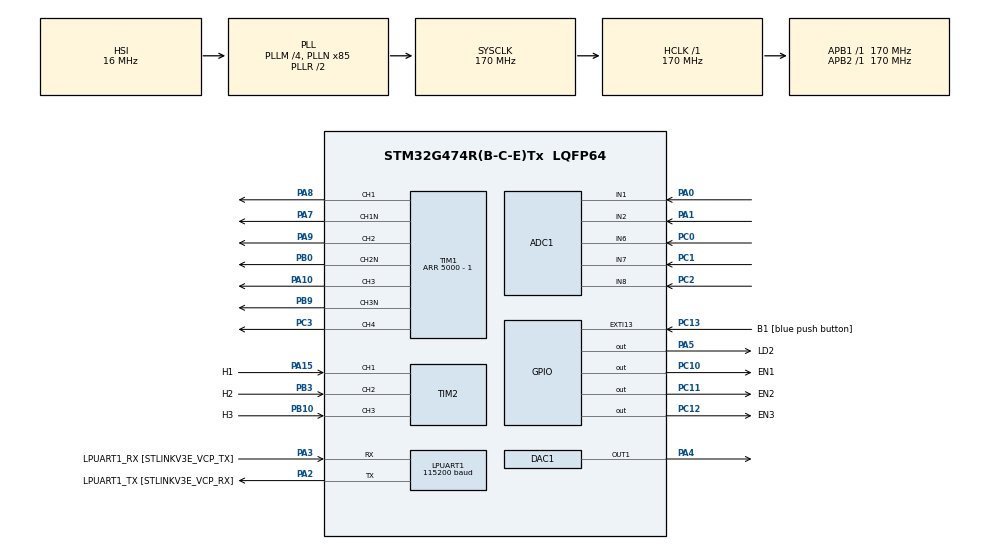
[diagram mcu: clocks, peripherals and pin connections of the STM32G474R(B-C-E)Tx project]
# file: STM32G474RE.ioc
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ADC1.Channel-0\#ChannelRegularConversion=ADC_CHANNEL_2
ADC1.Channel-4\#ChannelRegularConversion=ADC_CHANNEL_8
ADC1.ContinuousConvMode=ENABLE
ADC1.DMAContinuousRequests=ENABLE
ADC1.EnableInjectedConversion=ENABLE
ADC1.ExternalTrigInjecConv=ADC_EXTERNALTRIGINJEC_T1_TRGO
ADC1.InjNumberOfConversion=3
ADC1.InjectedChannel-1\#ChannelInjectedConversion=ADC_CHANNEL_1
ADC1.InjectedChannel-2\#ChannelInjectedConversion=ADC_CHANNEL_7
ADC1.InjectedChannel-3\#ChannelInjectedConversion=ADC_CHANNEL_6
ADC1.InjectedOffsetNumber-1\#ChannelInjectedConversion=ADC_OFFSET_NONE
ADC1.InjectedOffsetNumber-2\#ChannelInjectedConversion=ADC_OFFSET_NONE
ADC1.InjectedOffsetNumber-3\#ChannelInjectedConversion=ADC_OFFSET_NONE
ADC1.InjectedRank-1\#ChannelInjectedConversion=1
ADC1.InjectedRank-2\#ChannelInjectedConversion=2
ADC1.InjectedRank-3\#ChannelInjectedConversion=3
ADC1.InjectedSamplingTime-1\#ChannelInjectedConversion=ADC_SAMPLETIME_2CYCLES_5
ADC1.InjectedSamplingTime-2\#ChannelInjectedConversion=ADC_SAMPLETIME_2CYCLES_5
ADC1.InjectedSamplingTime-3\#ChannelInjectedConversion=ADC_SAMPLETIME_2CYCLES_5
ADC1.NbrOfConversion=2
ADC1.NbrOfConversionFlag=1
ADC1.OffsetNumber-0\#ChannelRegularConversion=ADC_OFFSET_NONE
ADC1.OffsetNumber-4\#ChannelRegularConversion=ADC_OFFSET_NONE
ADC1.Rank-0\#ChannelRegularConversion=1
ADC1.Rank-4\#ChannelRegularConversion=2
ADC1.SamplingTime-0\#ChannelRegularConversion=ADC_SAMPLETIME_2CYCLES_5
ADC1.SamplingTime-4\#ChannelRegularConversion=ADC_SAMPLETIME_2CYCLES_5
ADC1.master=1
DAC1.DAC_Trigger_OUT1-DAC_OUT1=DAC_TRIGGER_SOFTWARE
Dma.ADC1.0.Direction=DMA_PERIPH_TO_MEMORY
Dma.ADC1.0.EventEnable=DISABLE
Dma.ADC1.0.Instance=DMA1_Channel1
Dma.ADC1.0.MemDataAlignment=DMA_MDATAALIGN_HALFWORD
Dma.ADC1.0.MemInc=DMA_MINC_ENABLE
Dma.ADC1.0.Mode=DMA_CIRCULAR
Dma.ADC1.0.PeriphDataAlignment=DMA_PDATAALIGN_HALFWORD
Dma.ADC1.0.PeriphInc=DMA_PINC_DISABLE
Dma.ADC1.0.Polarity=HAL_DMAMUX_REQ_GEN_RISING
Dma.ADC1.0.Priority=DMA_PRIORITY_LOW
Dma.ADC1.0.RequestNumber=1
Dma.ADC1.0.SignalID=NONE
Dma.ADC1.0.SyncEnable=DISABLE
Dma.ADC1.0.SyncPolarity=HAL_DMAMUX_SYNC_NO_EVENT
Dma.ADC1.0.SyncRequestNumber=1
Dma.ADC1.0.SyncSignalID=NONE
Dma.DAC1_CH1.1.Direction=DMA_MEMORY_TO_PERIPH
Dma.DAC1_CH1.1.EventEnable=DISABLE
Dma.DAC1_CH1.1.Instance=DMA1_Channel2
Dma.DAC1_CH1.1.MemDataAlignment=DMA_MDATAALIGN_HALFWORD
Dma.DAC1_CH1.1.MemInc=DMA_MINC_ENABLE
Dma.DAC1_CH1.1.Mode=DMA_CIRCULAR
Dma.DAC1_CH1.1.PeriphDataAlignment=DMA_PDATAALIGN_HALFWORD
Dma.DAC1_CH1.1.PeriphInc=DMA_PINC_DISABLE
Dma.DAC1_CH1.1.Polarity=HAL_DMAMUX_REQ_GEN_RISING
Dma.DAC1_CH1.1.Priority=DMA_PRIORITY_LOW
Dma.DAC1_CH1.1.RequestNumber=1
Dma.DAC1_CH1.1.SignalID=NONE
Dma.DAC1_CH1.1.SyncEnable=DISABLE
Dma.DAC1_CH1.1.SyncPolarity=HAL_DMAMUX_SYNC_NO_EVENT
Dma.DAC1_CH1.1.SyncRequestNumber=1
Dma.DAC1_CH1.1.SyncSignalID=NONE
Dma.Request0=ADC1
Dma.Request1=DAC1_CH1
LPUART1.BaudRate=115200
LPUART1.WordLength=UART_WORDLENGTH_8B
Mcu.Family=STM32G4
Mcu.Name=STM32G474R(B-C-E)Tx
Mcu.Package=LQFP64
NVIC.ADC1_2_IRQn=true\:0\:0\:false\:false\:true\:true\:true\:true
NVIC.DMA1_Channel1_IRQn=true\:0\:0\:false\:false\:true\:false\:true\:true
NVIC.DMA1_Channel2_IRQn=true\:0\:0\:false\:false\:true\:false\:true\:true
NVIC.EXTI15_10_IRQn=true\:0\:0\:false\:false\:true\:true\:true\:true
NVIC.PriorityGroup=NVIC_PRIORITYGROUP_4
PA0.Mode=IN1-Single-Ended
PA0.Signal=ADC1_IN1
PA1.Mode=IN2-Single-Ended
PA1.Signal=ADC1_IN2
PA10.Signal=S_TIM1_CH3
PA13.GPIO_Label=T_SWDIO
PA13.Mode=Serial_Wire
PA13.Signal=SYS_JTMS-SWDIO
PA14.GPIO_Label=T_SWCLK
PA14.Mode=Serial_Wire
PA14.Signal=SYS_JTCK-SWCLK
PA15.GPIO_Label=H1
PA15.Signal=S_TIM2_CH1
PA2.GPIO_Label=LPUART1_TX [STLINKV3E_VCP_RX]
PA2.Mode=Asynchronous
PA2.Signal=LPUART1_TX
PA3.GPIO_Label=LPUART1_RX [STLINKV3E_VCP_TX]
PA3.Mode=Asynchronous
PA3.Signal=LPUART1_RX
PA4.Signal=COMP_DAC11_group
PA5.GPIO_Label=LD2
PA5.Signal=GPIO_Output
PA7.Mode=PWM Generation1 CH1 CH1N
PA7.Signal=TIM1_CH1N
PA8.Signal=S_TIM1_CH1
PA9.Signal=S_TIM1_CH2
PB0.Mode=PWM Generation2 CH2 CH2N
PB0.Signal=TIM1_CH2N
PB10.GPIO_Label=H3
PB10.Signal=S_TIM2_CH3
PB3.GPIO_Label=H2
PB3.Signal=S_TIM2_CH2
PB9.Mode=PWM Generation3 CH3 CH3N
PB9.Signal=TIM1_CH3N
PC0.Mode=IN6-Single-Ended
PC0.Signal=ADC1_IN6
PC1.Mode=IN7-Single-Ended
PC1.Signal=ADC1_IN7
PC10.GPIO_Label=EN1
PC10.Signal=GPIO_Output
PC11.GPIO_Label=EN2
PC11.Signal=GPIO_Output
PC12.GPIO_Label=EN3
PC12.Signal=GPIO_Output
PC13.GPIO_Label=B1 [blue push button]
PC13.Signal=GPXTI13
PC14-OSC32_IN.Mode=LSE-External-Oscillator
PC14-OSC32_IN.Signal=RCC_OSC32_IN
PC15-OSC32_OUT.Mode=LSE-External-Oscillator
PC15-OSC32_OUT.Signal=RCC_OSC32_OUT
PC2.Mode=IN8-Single-Ended
PC2.Signal=ADC1_IN8
PC3.Signal=S_TIM1_CH4
PF0-OSC_IN.Mode=HSE-External-Oscillator
PF0-OSC_IN.Signal=RCC_OSC_IN
PF1-OSC_OUT.Mode=HSE-External-Oscillator
PF1-OSC_OUT.Signal=RCC_OSC_OUT
ProjectManager.HeapSize=0x200
ProjectManager.StackSize=0x400
ProjectManager.TargetToolchain=STM32CubeIDE
RCC.ADC12Freq_Value=170000000
RCC.ADC345Freq_Value=170000000
RCC.AHBFreq_Value=170000000
RCC.APB1Freq_Value=170000000
RCC.APB1TimFreq_Value=170000000
RCC.APB2Freq_Value=170000000
RCC.APB2TimFreq_Value=170000000
RCC.CortexFreq_Value=170000000
RCC.EXTERNAL_CLOCK_VALUE=12288000
RCC.HCLKFreq_Value=170000000
RCC.HSE_VALUE=24000000
RCC.HSI48_VALUE=48000000
RCC.HSI_VALUE=16000000
RCC.PLLM=RCC_PLLM_DIV4
RCC.PLLN=85
RCC.RTCClockSelection=RCC_RTCCLKSOURCE_LSE
RCC.SYSCLKFreq_VALUE=170000000
RCC.SYSCLKSource=RCC_SYSCLKSOURCE_PLLCLK
RCC.USBFreq_Value=170000000
RCC.VCOOutputFreq_Value=340000000
SH.COMP_DAC11_group.0=DAC1_OUT1,DAC_OUT1
SH.S_TIM1_CH1.0=TIM1_CH1,PWM Generation1 CH1 CH1N
SH.S_TIM1_CH2.0=TIM1_CH2,PWM Generation2 CH2 CH2N
SH.S_TIM1_CH3.0=TIM1_CH3,PWM Generation3 CH3 CH3N
SH.S_TIM1_CH4.0=TIM1_CH4,PWM Generation4 CH4
SH.S_TIM2_CH1.0=TIM2_CH1,Input_Capture1_from_TI1
SH.S_TIM2_CH2.0=TIM2_CH2,Input_Capture2_from_TI2
SH.S_TIM2_CH3.0=TIM2_CH3,Input_Capture3_from_TI3
TIM1.Channel-PWM\ Generation1\ CH1\ CH1N=TIM_CHANNEL_1
TIM1.Channel-PWM\ Generation2\ CH2\ CH2N=TIM_CHANNEL_2
TIM1.Channel-PWM\ Generation3\ CH3\ CH3N=TIM_CHANNEL_3
TIM1.Channel-PWM\ Generation4\ CH4=TIM_CHANNEL_4
TIM1.CounterMode=TIM_COUNTERMODE_CENTERALIGNED1
TIM1.DeadTime=100
TIM1.OCMode_PWM-PWM\ Generation4\ CH4=TIM_OCMODE_PWM2
TIM1.PeriodNoDither=5000 - 1
TIM1.TIM_MasterOutputTrigger=TIM_TRGO_OC4REF
TIM2.Channel-Input_Capture1_from_TI1=TIM_CHANNEL_1
TIM2.Channel-Input_Capture2_from_TI2=TIM_CHANNEL_2
TIM2.Channel-Input_Capture3_from_TI3=TIM_CHANNEL_3
TIM2.ICFilter_CH1=1
TIM2.ICFilter_CH2=1
TIM2.ICFilter_CH3=1
TIM7.PeriodNoDither=5000 - 1
TIM7.TIM_MasterOutputTrigger=TIM_TRGO_UPDATE
VP_SYS_VS_DBSignals.Mode=DisableDeadBatterySignals
VP_TIM7_VS_ClockSourceINT.Mode=Enable_Timer
board=NUCLEO-G474RE

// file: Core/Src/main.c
/* USER CODE BEGIN Header */
/**
  ******************************************************************************
  * @file           : main.c
  * @brief          : Main program body
  ******************************************************************************
  * @attention
  *
  * Copyright (c) 2023 STMicroelectronics.
  * All rights reserved.
  *
  * This software is licensed under terms that can be found in the LICENSE file
  * in the root directory of this software component.
  * If no LICENSE file comes with this software, it is provided AS-IS.
  *
  ******************************************************************************
  */
/* USER CODE END Header */
#include "main.h"

/* USER CODE BEGIN Includes */
#include "GlobalVariables.h"
#include "SixsStep.h"
#include "SignalReadWrite.h"
/* USER CODE END Includes */

ADC_HandleTypeDef hadc1;
DMA_HandleTypeDef hdma_adc1;

DAC_HandleTypeDef hdac1;
DMA_HandleTypeDef hdma_dac1_ch1;

UART_HandleTypeDef hlpuart1;

TIM_HandleTypeDef htim1;
TIM_HandleTypeDef htim2;
TIM_HandleTypeDef htim7;

void SystemClock_Config(void);
static void MX_GPIO_Init(void);
static void MX_DMA_Init(void);
static void MX_LPUART1_UART_Init(void);
static void MX_ADC1_Init(void);
static void MX_TIM1_Init(void);
static void MX_TIM2_Init(void);
static void MX_DAC1_Init(void);
static void MX_TIM7_Init(void);

int main(void)
{

  /* MCU Configuration--------------------------------------------------------*/

  /* Reset of all peripherals, Initializes the Flash interface and the Systick. */
  HAL_Init();

  /* Configure the system clock */
  SystemClock_Config();

  /* Initialize all configured peripherals */
  MX_GPIO_Init();
  MX_DMA_Init();
  MX_LPUART1_UART_Init();
  MX_ADC1_Init();
  MX_TIM1_Init();
  MX_TIM2_Init();
  MX_DAC1_Init();
  MX_TIM7_Init();
  /* USER CODE BEGIN 2 */
  HAL_TIM_Base_Start_IT(&htim1);
  HAL_ADCEx_InjectedStart_IT(&hadc1);
  HAL_GPIO_WritePin(EN1_GPIO_Port, EN1_Pin, GPIO_PIN_SET);
  HAL_GPIO_WritePin(EN2_GPIO_Port, EN2_Pin, GPIO_PIN_SET);
  HAL_GPIO_WritePin(EN3_GPIO_Port, EN3_Pin, GPIO_PIN_SET);
  HAL_TIM_PWM_Start(&htim1, TIM_CHANNEL_1);
  HAL_TIMEx_PWMN_Start(&htim1, TIM_CHANNEL_1);
  HAL_TIM_PWM_Start(&htim1, TIM_CHANNEL_2);
  HAL_TIMEx_PWMN_Start(&htim1, TIM_CHANNEL_2);
  HAL_TIM_PWM_Start(&htim1, TIM_CHANNEL_3);
  HAL_TIMEx_PWMN_Start(&htim1, TIM_CHANNEL_3);

  // Set Duty Output Delay to Constant
  // https://digitalservo.jp/blogs/posts/2022/12/stm32-pwm-setting/
  TIM1 -> RCR = 1;
  TIM1 -> EGR  |= TIM_EGR_UG;
  TIM1 -> CNT = TIM1 -> ARR;
  TIM1 -> CR1 &= ~(TIM_CR1_CMS);
  TIM1 -> CR1 |= TIM_CR1_DIR;
  TIM1 -> CR1 |= TIM_CR1_CMS;

  TIM1 -> CCR4 = (TIM1 -> ARR) - 40;//for Carrier Top Interrupt

  // Start TIM2 Input Capture
  HAL_TIM_Base_Start_IT(&htim2);
  HAL_TIM_IC_Start_IT(&htim2, TIM_CHANNEL_1);
  HAL_TIM_IC_Start_IT(&htim2, TIM_CHANNEL_2);
  HAL_TIM_IC_Start_IT(&htim2, TIM_CHANNEL_3);

  // Start TIM7 for DAC
  HAL_TIM_Base_Start(&htim7);
  HAL_TIM_GenerateEvent(&htim7, TIM_EVENTSOURCE_UPDATE);

  // Start DMA (This function needs to be called after Starting TIM1 & TIM2)
  HAL_ADC_Start_DMA(&hadc1, (uint32_t*)gAdcValue, 2);
  uint16_t data = 2048;
  HAL_DAC_Start(&hdac1, DAC_CHANNEL_1);
  HAL_DAC_SetValue(&hdac1, DAC_CHANNEL_1, DAC_ALIGN_12B_R, data);
  /*
  const double timer_clock = 170e6;
  const double sin_frequency_Hz = 2000;
  double sampling_rate = timer_clock / (htim7.Instance->ARR + 1) / (htim7.Instance->PSC + 1);
  int32_t length = (int32_t)round(sampling_rate / sin_frequency_Hz);
  int16_t *DAC_buff = malloc(sizeof(int16_t) * length);

  for (int16_t i = 0; i < length; i++)
  {
      double a = sinf(i / (double)length * PI * 2) * 1800.0f + 2048.0f;

      if (a < 0)
      {
          a = 0;
      }
      if (a > 4095)
      {
          a = 4095;
      }

      DAC_buff[i] = (int16_t)a;
  }

  HAL_DAC_Start_DMA(&hdac1, DAC_CHANNEL_1, (uint32_t *)DAC_buff, length, DAC_ALIGN_12B_R);
*/
  //HAL_DAC_Start_DMA(&hdac1, DAC_CHANNEL_1, (uint32_t *)gTheta_DAC, 4096, DAC_ALIGN_12B_R);

  /* USER CODE END 2 */

  /* Infinite loop */
  while (1)
  {

    /* USER CODE BEGIN 3 */
	  HAL_DAC_SetValue(&hdac1, DAC_CHANNEL_1, DAC_ALIGN_12B_R, data);
  }
  /* USER CODE END 3 */
}

void SystemClock_Config(void)
{
  RCC_OscInitTypeDef RCC_OscInitStruct = {0};
  RCC_ClkInitTypeDef RCC_ClkInitStruct = {0};

  /** Configure the main internal regulator output voltage
  */
  HAL_PWREx_ControlVoltageScaling(PWR_REGULATOR_VOLTAGE_SCALE1_BOOST);

  /** Initializes the RCC Oscillators according to the specified parameters
  * in the RCC_OscInitTypeDef structure.
  */
  RCC_OscInitStruct.OscillatorType = RCC_OSCILLATORTYPE_HSI;
  RCC_OscInitStruct.HSIState = RCC_HSI_ON;
  RCC_OscInitStruct.HSICalibrationValue = RCC_HSICALIBRATION_DEFAULT;
  RCC_OscInitStruct.PLL.PLLState = RCC_PLL_ON;
  RCC_OscInitStruct.PLL.PLLSource = RCC_PLLSOURCE_HSI;
  RCC_OscInitStruct.PLL.PLLM = RCC_PLLM_DIV4;
  RCC_OscInitStruct.PLL.PLLN = 85;
  RCC_OscInitStruct.PLL.PLLP = RCC_PLLP_DIV2;
  RCC_OscInitStruct.PLL.PLLQ = RCC_PLLQ_DIV2;
  RCC_OscInitStruct.PLL.PLLR = RCC_PLLR_DIV2;
  if (HAL_RCC_OscConfig(&RCC_OscInitStruct) != HAL_OK)
  {
    Error_Handler();
  }

  /** Initializes the CPU, AHB and APB buses clocks
  */
  RCC_ClkInitStruct.ClockType = RCC_CLOCKTYPE_HCLK|RCC_CLOCKTYPE_SYSCLK
                              |RCC_CLOCKTYPE_PCLK1|RCC_CLOCKTYPE_PCLK2;
  RCC_ClkInitStruct.SYSCLKSource = RCC_SYSCLKSOURCE_PLLCLK;
  RCC_ClkInitStruct.AHBCLKDivider = RCC_SYSCLK_DIV1;
  RCC_ClkInitStruct.APB1CLKDivider = RCC_HCLK_DIV1;
  RCC_ClkInitStruct.APB2CLKDivider = RCC_HCLK_DIV1;

  if (HAL_RCC_ClockConfig(&RCC_ClkInitStruct, FLASH_LATENCY_4) != HAL_OK)
  {
    Error_Handler();
  }
}

static void MX_ADC1_Init(void)
{

  ADC_MultiModeTypeDef multimode = {0};
  ADC_ChannelConfTypeDef sConfig = {0};
  ADC_InjectionConfTypeDef sConfigInjected = {0};

  /** Common config
  */
  hadc1.Instance = ADC1;
  hadc1.Init.ClockPrescaler = ADC_CLOCK_SYNC_PCLK_DIV4;
  hadc1.Init.Resolution = ADC_RESOLUTION_12B;
  hadc1.Init.DataAlign = ADC_DATAALIGN_RIGHT;
  hadc1.Init.GainCompensation = 0;
  hadc1.Init.ScanConvMode = ADC_SCAN_ENABLE;
  hadc1.Init.EOCSelection = ADC_EOC_SINGLE_CONV;
  hadc1.Init.LowPowerAutoWait = DISABLE;
  hadc1.Init.ContinuousConvMode = ENABLE;
  hadc1.Init.NbrOfConversion = 2;
  hadc1.Init.DiscontinuousConvMode = DISABLE;
  hadc1.Init.ExternalTrigConv = ADC_SOFTWARE_START;
  hadc1.Init.ExternalTrigConvEdge = ADC_EXTERNALTRIGCONVEDGE_NONE;
  hadc1.Init.DMAContinuousRequests = ENABLE;
  hadc1.Init.Overrun = ADC_OVR_DATA_PRESERVED;
  hadc1.Init.OversamplingMode = DISABLE;
  if (HAL_ADC_Init(&hadc1) != HAL_OK)
  {
    Error_Handler();
  }

  /** Configure the ADC multi-mode
  */
  multimode.Mode = ADC_MODE_INDEPENDENT;
  if (HAL_ADCEx_MultiModeConfigChannel(&hadc1, &multimode) != HAL_OK)
  {
    Error_Handler();
  }

  /** Configure Regular Channel
  */
  sConfig.Channel = ADC_CHANNEL_2;
  sConfig.Rank = ADC_REGULAR_RANK_1;
  sConfig.SamplingTime = ADC_SAMPLETIME_2CYCLES_5;
  sConfig.SingleDiff = ADC_SINGLE_ENDED;
  sConfig.OffsetNumber = ADC_OFFSET_NONE;
  sConfig.Offset = 0;
  if (HAL_ADC_ConfigChannel(&hadc1, &sConfig) != HAL_OK)
  {
    Error_Handler();
  }

  /** Configure Regular Channel
  */
  sConfig.Channel = ADC_CHANNEL_8;
  sConfig.Rank = ADC_REGULAR_RANK_2;
  if (HAL_ADC_ConfigChannel(&hadc1, &sConfig) != HAL_OK)
  {
    Error_Handler();
  }

  /** Configure Injected Channel
  */
  sConfigInjected.InjectedChannel = ADC_CHANNEL_1;
  sConfigInjected.InjectedRank = ADC_INJECTED_RANK_1;
  sConfigInjected.InjectedSamplingTime = ADC_SAMPLETIME_2CYCLES_5;
  sConfigInjected.InjectedSingleDiff = ADC_SINGLE_ENDED;
  sConfigInjected.InjectedOffsetNumber = ADC_OFFSET_NONE;
  sConfigInjected.InjectedOffset = 0;
  sConfigInjected.InjectedNbrOfConversion = 3;
  sConfigInjected.InjectedDiscontinuousConvMode = DISABLE;
  sConfigInjected.AutoInjectedConv = DISABLE;
  sConfigInjected.QueueInjectedContext = DISABLE;
  sConfigInjected.ExternalTrigInjecConv = ADC_EXTERNALTRIGINJEC_T1_TRGO;
  sConfigInjected.ExternalTrigInjecConvEdge = ADC_EXTERNALTRIGINJECCONV_EDGE_RISING;
  sConfigInjected.InjecOversamplingMode = DISABLE;
  if (HAL_ADCEx_InjectedConfigChannel(&hadc1, &sConfigInjected) != HAL_OK)
  {
    Error_Handler();
  }

  /** Configure Injected Channel
  */
  sConfigInjected.InjectedChannel = ADC_CHANNEL_7;
  sConfigInjected.InjectedRank = ADC_INJECTED_RANK_2;
  if (HAL_ADCEx_InjectedConfigChannel(&hadc1, &sConfigInjected) != HAL_OK)
  {
    Error_Handler();
  }

  /** Configure Injected Channel
  */
  sConfigInjected.InjectedChannel = ADC_CHANNEL_6;
  sConfigInjected.InjectedRank = ADC_INJECTED_RANK_3;
  if (HAL_ADCEx_InjectedConfigChannel(&hadc1, &sConfigInjected) != HAL_OK)
  {
    Error_Handler();
  }

}

static void MX_DAC1_Init(void)
{

  DAC_ChannelConfTypeDef sConfig = {0};

  /** DAC Initialization
  */
  hdac1.Instance = DAC1;
  if (HAL_DAC_Init(&hdac1) != HAL_OK)
  {
    Error_Handler();
  }

  /** DAC channel OUT1 config
  */
  sConfig.DAC_HighFrequency = DAC_HIGH_FREQUENCY_INTERFACE_MODE_AUTOMATIC;
  sConfig.DAC_DMADoubleDataMode = DISABLE;
  sConfig.DAC_SignedFormat = DISABLE;
  sConfig.DAC_SampleAndHold = DAC_SAMPLEANDHOLD_DISABLE;
  sConfig.DAC_Trigger = DAC_TRIGGER_SOFTWARE;
  sConfig.DAC_Trigger2 = DAC_TRIGGER_NONE;
  sConfig.DAC_OutputBuffer = DAC_OUTPUTBUFFER_ENABLE;
  sConfig.DAC_ConnectOnChipPeripheral = DAC_CHIPCONNECT_EXTERNAL;
  sConfig.DAC_UserTrimming = DAC_TRIMMING_FACTORY;
  if (HAL_DAC_ConfigChannel(&hdac1, &sConfig, DAC_CHANNEL_1) != HAL_OK)
  {
    Error_Handler();
  }

}

static void MX_LPUART1_UART_Init(void)
{

  hlpuart1.Instance = LPUART1;
  hlpuart1.Init.BaudRate = 115200;
  hlpuart1.Init.WordLength = UART_WORDLENGTH_8B;
  hlpuart1.Init.StopBits = UART_STOPBITS_1;
  hlpuart1.Init.Parity = UART_PARITY_NONE;
  hlpuart1.Init.Mode = UART_MODE_TX_RX;
  hlpuart1.Init.HwFlowCtl = UART_HWCONTROL_NONE;
  hlpuart1.Init.OneBitSampling = UART_ONE_BIT_SAMPLE_DISABLE;
  hlpuart1.Init.ClockPrescaler = UART_PRESCALER_DIV1;
  hlpuart1.AdvancedInit.AdvFeatureInit = UART_ADVFEATURE_NO_INIT;
  if (HAL_UART_Init(&hlpuart1) != HAL_OK)
  {
    Error_Handler();
  }
  if (HAL_UARTEx_SetTxFifoThreshold(&hlpuart1, UART_TXFIFO_THRESHOLD_1_8) != HAL_OK)
  {
    Error_Handler();
  }
  if (HAL_UARTEx_SetRxFifoThreshold(&hlpuart1, UART_RXFIFO_THRESHOLD_1_8) != HAL_OK)
  {
    Error_Handler();
  }
  if (HAL_UARTEx_DisableFifoMode(&hlpuart1) != HAL_OK)
  {
    Error_Handler();
  }

}

static void MX_TIM1_Init(void)
{

  TIM_MasterConfigTypeDef sMasterConfig = {0};
  TIM_OC_InitTypeDef sConfigOC = {0};
  TIM_BreakDeadTimeConfigTypeDef sBreakDeadTimeConfig = {0};

  htim1.Instance = TIM1;
  htim1.Init.Prescaler = 0;
  htim1.Init.CounterMode = TIM_COUNTERMODE_CENTERALIGNED1;
  htim1.Init.Period = 4999;
  htim1.Init.ClockDivision = TIM_CLOCKDIVISION_DIV1;
  htim1.Init.RepetitionCounter = 0;
  htim1.Init.AutoReloadPreload = TIM_AUTORELOAD_PRELOAD_DISABLE;
  if (HAL_TIM_PWM_Init(&htim1) != HAL_OK)
  {
    Error_Handler();
  }
  sMasterConfig.MasterOutputTrigger = TIM_TRGO_OC4REF;
  sMasterConfig.MasterOutputTrigger2 = TIM_TRGO2_RESET;
  sMasterConfig.MasterSlaveMode = TIM_MASTERSLAVEMODE_DISABLE;
  if (HAL_TIMEx_MasterConfigSynchronization(&htim1, &sMasterConfig) != HAL_OK)
  {
    Error_Handler();
  }
  sConfigOC.OCMode = TIM_OCMODE_PWM1;
  sConfigOC.Pulse = 0;
  sConfigOC.OCPolarity = TIM_OCPOLARITY_HIGH;
  sConfigOC.OCNPolarity = TIM_OCNPOLARITY_HIGH;
  sConfigOC.OCFastMode = TIM_OCFAST_DISABLE;
  sConfigOC.OCIdleState = TIM_OCIDLESTATE_RESET;
  sConfigOC.OCNIdleState = TIM_OCNIDLESTATE_RESET;
  if (HAL_TIM_PWM_ConfigChannel(&htim1, &sConfigOC, TIM_CHANNEL_1) != HAL_OK)
  {
    Error_Handler();
  }
  if (HAL_TIM_PWM_ConfigChannel(&htim1, &sConfigOC, TIM_CHANNEL_2) != HAL_OK)
  {
    Error_Handler();
  }
  if (HAL_TIM_PWM_ConfigChannel(&htim1, &sConfigOC, TIM_CHANNEL_3) != HAL_OK)
  {
    Error_Handler();
  }
  sConfigOC.OCMode = TIM_OCMODE_PWM2;
  if (HAL_TIM_PWM_ConfigChannel(&htim1, &sConfigOC, TIM_CHANNEL_4) != HAL_OK)
  {
    Error_Handler();
  }
  sBreakDeadTimeConfig.OffStateRunMode = TIM_OSSR_DISABLE;
  sBreakDeadTimeConfig.OffStateIDLEMode = TIM_OSSI_DISABLE;
  sBreakDeadTimeConfig.LockLevel = TIM_LOCKLEVEL_OFF;
  sBreakDeadTimeConfig.DeadTime = 100;
  sBreakDeadTimeConfig.BreakState = TIM_BREAK_DISABLE;
  sBreakDeadTimeConfig.BreakPolarity = TIM_BREAKPOLARITY_HIGH;
  sBreakDeadTimeConfig.BreakFilter = 0;
  sBreakDeadTimeConfig.BreakAFMode = TIM_BREAK_AFMODE_INPUT;
  sBreakDeadTimeConfig.Break2State = TIM_BREAK2_DISABLE;
  sBreakDeadTimeConfig.Break2Polarity = TIM_BREAK2POLARITY_HIGH;
  sBreakDeadTimeConfig.Break2Filter = 0;
  sBreakDeadTimeConfig.Break2AFMode = TIM_BREAK_AFMODE_INPUT;
  sBreakDeadTimeConfig.AutomaticOutput = TIM_AUTOMATICOUTPUT_DISABLE;
  if (HAL_TIMEx_ConfigBreakDeadTime(&htim1, &sBreakDeadTimeConfig) != HAL_OK)
  {
    Error_Handler();
  }
  HAL_TIM_MspPostInit(&htim1);

}

static void MX_TIM2_Init(void)
{

  TIM_MasterConfigTypeDef sMasterConfig = {0};
  TIM_IC_InitTypeDef sConfigIC = {0};

  htim2.Instance = TIM2;
  htim2.Init.Prescaler = 0;
  htim2.Init.CounterMode = TIM_COUNTERMODE_UP;
  htim2.Init.Period = 4.294967295E9;
  htim2.Init.ClockDivision = TIM_CLOCKDIVISION_DIV1;
  htim2.Init.AutoReloadPreload = TIM_AUTORELOAD_PRELOAD_DISABLE;
  if (HAL_TIM_IC_Init(&htim2) != HAL_OK)
  {
    Error_Handler();
  }
  sMasterConfig.MasterOutputTrigger = TIM_TRGO_RESET;
  sMasterConfig.MasterSlaveMode = TIM_MASTERSLAVEMODE_DISABLE;
  if (HAL_TIMEx_MasterConfigSynchronization(&htim2, &sMasterConfig) != HAL_OK)
  {
    Error_Handler();
  }
  sConfigIC.ICPolarity = TIM_INPUTCHANNELPOLARITY_RISING;
  sConfigIC.ICSelection = TIM_ICSELECTION_DIRECTTI;
  sConfigIC.ICPrescaler = TIM_ICPSC_DIV1;
  sConfigIC.ICFilter = 1;
  if (HAL_TIM_IC_ConfigChannel(&htim2, &sConfigIC, TIM_CHANNEL_1) != HAL_OK)
  {
    Error_Handler();
  }
  if (HAL_TIM_IC_ConfigChannel(&htim2, &sConfigIC, TIM_CHANNEL_2) != HAL_OK)
  {
    Error_Handler();
  }
  if (HAL_TIM_IC_ConfigChannel(&htim2, &sConfigIC, TIM_CHANNEL_3) != HAL_OK)
  {
    Error_Handler();
  }

}

static void MX_TIM7_Init(void)
{

  TIM_MasterConfigTypeDef sMasterConfig = {0};

  htim7.Instance = TIM7;
  htim7.Init.Prescaler = 0;
  htim7.Init.CounterMode = TIM_COUNTERMODE_UP;
  htim7.Init.Period = 4999;
  htim7.Init.AutoReloadPreload = TIM_AUTORELOAD_PRELOAD_DISABLE;
  if (HAL_TIM_Base_Init(&htim7) != HAL_OK)
  {
    Error_Handler();
  }
  sMasterConfig.MasterOutputTrigger = TIM_TRGO_UPDATE;
  sMasterConfig.MasterSlaveMode = TIM_MASTERSLAVEMODE_DISABLE;
  if (HAL_TIMEx_MasterConfigSynchronization(&htim7, &sMasterConfig) != HAL_OK)
  {
    Error_Handler();
  }

}

static void MX_DMA_Init(void)
{

  /* DMA controller clock enable */
  __HAL_RCC_DMAMUX1_CLK_ENABLE();
  __HAL_RCC_DMA1_CLK_ENABLE();

  /* DMA interrupt init */
  /* DMA1_Channel1_IRQn interrupt configuration */
  HAL_NVIC_SetPriority(DMA1_Channel1_IRQn, 0, 0);
  HAL_NVIC_EnableIRQ(DMA1_Channel1_IRQn);
  /* DMA1_Channel2_IRQn interrupt configuration */
  HAL_NVIC_SetPriority(DMA1_Channel2_IRQn, 0, 0);
  HAL_NVIC_EnableIRQ(DMA1_Channel2_IRQn);

}

static void MX_GPIO_Init(void)
{
  GPIO_InitTypeDef GPIO_InitStruct = {0};

  /* GPIO Ports Clock Enable */
  __HAL_RCC_GPIOC_CLK_ENABLE();
  __HAL_RCC_GPIOF_CLK_ENABLE();
  __HAL_RCC_GPIOA_CLK_ENABLE();
  __HAL_RCC_GPIOB_CLK_ENABLE();

  /*Configure GPIO pin Output Level */
  HAL_GPIO_WritePin(LD2_GPIO_Port, LD2_Pin, GPIO_PIN_RESET);

  /*Configure GPIO pin Output Level */
  HAL_GPIO_WritePin(GPIOC, EN1_Pin|EN2_Pin|EN3_Pin, GPIO_PIN_RESET);

  /*Configure GPIO pin : B1_Pin */
  GPIO_InitStruct.Pin = B1_Pin;
  GPIO_InitStruct.Mode = GPIO_MODE_IT_RISING;
  GPIO_InitStruct.Pull = GPIO_NOPULL;
  HAL_GPIO_Init(B1_GPIO_Port, &GPIO_InitStruct);

  /*Configure GPIO pin : LD2_Pin */
  GPIO_InitStruct.Pin = LD2_Pin;
  GPIO_InitStruct.Mode = GPIO_MODE_OUTPUT_PP;
  GPIO_InitStruct.Pull = GPIO_NOPULL;
  GPIO_InitStruct.Speed = GPIO_SPEED_FREQ_LOW;
  HAL_GPIO_Init(LD2_GPIO_Port, &GPIO_InitStruct);

  /*Configure GPIO pins : EN1_Pin EN2_Pin EN3_Pin */
  GPIO_InitStruct.Pin = EN1_Pin|EN2_Pin|EN3_Pin;
  GPIO_InitStruct.Mode = GPIO_MODE_OUTPUT_PP;
  GPIO_InitStruct.Pull = GPIO_NOPULL;
  GPIO_InitStruct.Speed = GPIO_SPEED_FREQ_LOW;
  HAL_GPIO_Init(GPIOC, &GPIO_InitStruct);

  /* EXTI interrupt init*/
  HAL_NVIC_SetPriority(EXTI15_10_IRQn, 0, 0);
  HAL_NVIC_EnableIRQ(EXTI15_10_IRQn);

}

void Error_Handler(void)
{
  __disable_irq();
  while (1)
  {
  }
}
